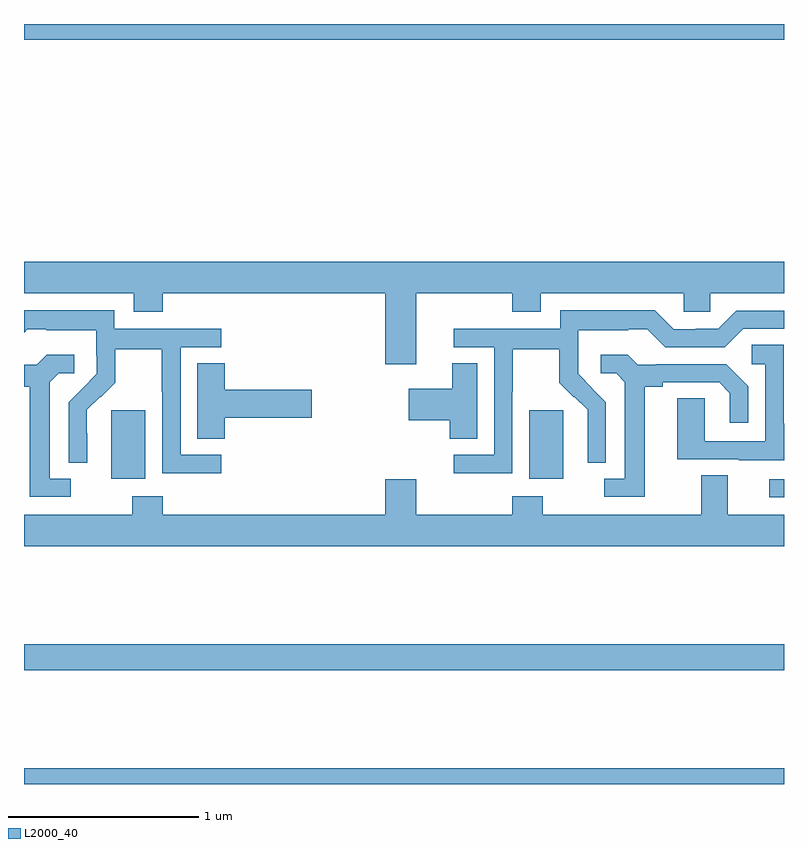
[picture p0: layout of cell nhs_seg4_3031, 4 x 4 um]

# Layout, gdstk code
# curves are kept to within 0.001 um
import gdstk
lib = gdstk.Library(unit=1e-6, precision=1e-09)
def R(c, l, rs):  # rectangles x0, y0, x1, y1
    for r in rs: c.add(gdstk.rectangle(r[:2], r[2:], *l))
def P(c, l, *ps):  # polygons
    for p in ps: c.add(gdstk.Polygon(p, *l))
L2000_40 = (2000, 40)

nhs_seg4_3031 = lib.new_cell('nhs_seg4_3031')
R(nhs_seg4_3031, L2000_40, [(271,796.9,275,796.984), (271,797.5,275,797.636), (274.923,798.408,275,798.504), (271.46,798.506,271.639,798.867), (273.659,798.506,273.838,798.867), (271,800.816,275,800.9)])
P(nhs_seg4_3031, L2000_40, [(273.064,799.484),(273.569,799.484),(273.569,799.385),(273.721,799.385),(273.721,799.484),(274.473,799.484),(274.473,799.386),(274.611,799.386),(274.611,799.484),(275,799.484),(275,799.648),(271,799.648),(271,799.484),(271.577,799.484),(271.577,799.385),(271.73,799.385),(271.73,799.484),(272.9,799.484),(272.9,799.11),(273.064,799.11)],
  [(272.038,798.633),(271.824,798.633),(271.824,799.2),(272.038,799.2),(272.038,799.296),(271.476,799.296),(271.476,799.393),(271,799.393),(271,799.276),(271.017,799.293),(271.117,799.293),(271.117,799.289),(271.38,799.289),(271.38,799.155),(271.382,799.155),(271.382,799.058),(271.236,798.91),(271.236,798.592),(271.332,798.592),(271.331,798.869),(271.401,798.939),(271.404,798.936),(271.481,799.013),(271.481,799.188),(271.726,799.188),(271.726,798.964),(271.728,798.964),(271.728,798.535),(272.038,798.535)],
  [(273.57,798.964),(273.573,798.964),(273.573,799.188),(273.817,799.188),(273.817,799.013),(273.894,798.936),(273.897,798.939),(273.968,798.869),(273.968,798.746),(273.966,798.746),(273.966,798.592),(274.062,798.592),(274.062,798.91),(273.916,799.058),(273.916,799.155),(273.918,799.155),(273.918,799.289),(274.181,799.289),(274.181,799.293),(274.281,799.293),(274.374,799.2),(274.689,799.2),(274.785,799.296),(275,799.296),(275,799.392),(274.749,799.392),(274.653,799.296),(274.535,799.296),(274.535,799.293),(274.419,799.293),(274.319,799.393),(273.822,799.393),(273.822,799.296),(273.261,799.296),(273.261,799.2),(273.474,799.2),(273.474,798.633),(273.261,798.633),(273.261,798.535),(273.57,798.535)],
  [(275,798.795),(274.998,798.795),(274.998,799.211),(274.83,799.211),(274.83,799.11),(274.902,799.11),(274.902,798.705),(274.584,798.705),(274.584,798.929),(274.439,798.929),(274.439,798.609),(274.763,798.609),(274.763,798.605),(275,798.605)],
  [(274.267,798.992),(274.363,798.992),(274.363,799.014),(274.658,799.014),(274.715,798.957),(274.715,798.801),(274.812,798.801),(274.812,798.994),(274.696,799.11),(274.324,799.11),(274.324,799.107),(274.23,799.107),(274.178,799.159),(274.035,799.159),(274.035,799.062),(274.116,799.062),(274.163,799.015),(274.163,798.507),(274.053,798.507),(274.053,798.411),(274.267,798.411)],
  [(271.246,798.507),(271.135,798.507),(271.135,799.015),(271.182,799.062),(271.264,799.062),(271.264,799.159),(271.12,799.159),(271.068,799.107),(271,799.107),(271,798.992),(271.031,798.992),(271.031,798.411),(271.246,798.411)],
  [(273.385,799.115),(273.254,799.115),(273.254,798.979),(273.024,798.979),(273.024,798.814),(273.242,798.814),(273.242,798.718),(273.385,798.718)],
  [(272.057,798.827),(272.515,798.827),(272.515,798.974),(272.057,798.974),(272.057,799.115),(271.913,799.115),(271.913,798.718),(272.057,798.718)],
  [(275,798.316),(274.705,798.316),(274.705,798.524),(274.565,798.524),(274.565,798.316),(273.729,798.316),(273.729,798.415),(273.569,798.415),(273.569,798.316),(273.064,798.316),(273.064,798.505),(272.9,798.505),(272.9,798.316),(271.73,798.316),(271.73,798.415),(271.57,798.415),(271.57,798.316),(271,798.316),(271,798.152),(275,798.152)])

lib.write_gds('nhs_seg4_3031.gds')
